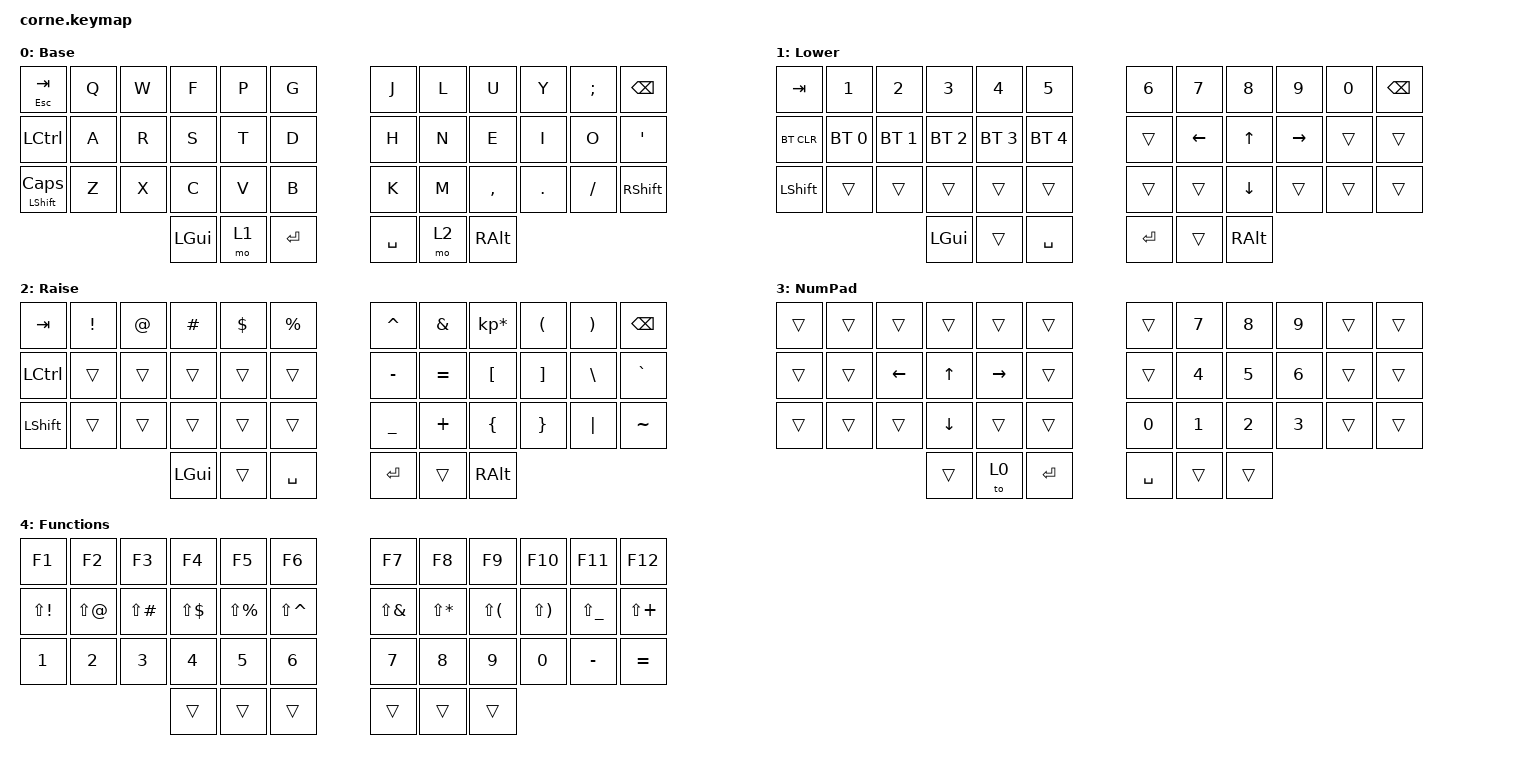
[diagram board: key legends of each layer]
/*
 * Copyright (c) 2020 The ZMK Contributors
 *
 * SPDX-License-Identifier: MIT
 */

#include <behaviors.dtsi>
#include <dt-bindings/zmk/bt.h>
#include <dt-bindings/zmk/keys.h>

/ {
    combos {
        compatible = "zmk,combos";

        NumPad {
            bindings = <&tog 3>;
            key-positions = <37 40>;
        };
    };

    keymap {
        compatible = "zmk,keymap";

        default_layer {
            // -----------------------------------------------------------------------------------------
            // |  TAB |  Q  |  W  |  E  |  R  |  T  |   |  Y  |  U   |  I  |  O  |  P  | BKSP |
            // | CTRL |  A  |  S  |  D  |  F  |  G  |   |  H  |  J   |  K  |  L  |  ;  |  '   |
            // | SHFT |  Z  |  X  |  C  |  V  |  B  |   |  N  |  M   |  ,  |  .  |  /  | ESC  |
            //                    | GUI | LWR | SPC |   | ENT | RSE  | ALT |

            display-name = "Base";
            bindings = <
&mt ESCAPE TAB      &kp Q  &kp W  &kp F     &kp P  &kp G        &kp J      &kp L  &kp U      &kp Y    &kp SEMI  &kp BSPC
&kp LCTRL           &kp A  &kp R  &kp S     &kp T  &kp D        &kp H      &kp N  &kp E      &kp I    &kp O     &kp SQT
&mt LSHFT CAPSLOCK  &kp Z  &kp X  &kp C     &kp V  &kp B        &kp K      &kp M  &kp COMMA  &kp DOT  &kp FSLH  &kp RIGHT_SHIFT
                                  &kp LGUI  &mo 1  &kp ENTER    &kp SPACE  &mo 2  &kp RALT
            >;
        };

        lower_layer {
            // -----------------------------------------------------------------------------------------
            // |  TAB |  1  |  2  |  3  |  4  |  5  |   |  6  |  7  |  8  |  9  |  0  | BKSP |
            // | BTCLR| BT1 | BT2 | BT3 | BT4 | BT5 |   | LFT | DWN |  UP | RGT |     |      |
            // | SHFT |     |     |     |     |     |   |     |     |     |     |     |      |
            //                    | GUI |     | SPC |   | ENT |     | ALT |

            display-name = "Lower";
            bindings = <
&kp TAB     &kp N1        &kp N2        &kp N3        &kp N4        &kp N5          &kp N6   &kp N7          &kp N8          &kp N9     &kp N0  &kp BSPC
&bt BT_CLR  &bt BT_SEL 0  &bt BT_SEL 1  &bt BT_SEL 2  &bt BT_SEL 3  &bt BT_SEL 4    &trans   &kp LEFT_ARROW  &kp UP          &kp RIGHT  &trans  &trans
&kp LSHFT   &trans        &trans        &trans        &trans        &trans          &trans   &trans          &kp DOWN_ARROW  &trans     &trans  &trans
                                        &kp LGUI      &trans        &kp SPACE       &kp RET  &trans          &kp RALT
            >;
        };

        raise_layer {
            // -----------------------------------------------------------------------------------------
            // |  TAB |  !  |  @  |  #  |  $  |  %  |   |  ^  |  &  |  *  |  (  |  )  | BKSP |
            // | CTRL |     |     |     |     |     |   |  -  |  =  |  [  |  ]  |  \  |  `   |
            // | SHFT |     |     |     |     |     |   |  _  |  +  |  {  |  }  | "|" |  ~   |
            //                    | GUI |     | SPC |   | ENT |     | ALT |

            display-name = "Raise";
            bindings = <
&kp TAB    &kp EXCL  &kp AT  &kp HASH  &kp DLLR  &kp PRCNT    &kp CARET  &kp AMPS   &kp KP_MULTIPLY  &kp LPAR  &kp RPAR  &kp BSPC
&kp LCTRL  &trans    &trans  &trans    &trans    &trans       &kp MINUS  &kp EQUAL  &kp LBKT         &kp RBKT  &kp BSLH  &kp GRAVE
&kp LSHFT  &trans    &trans  &trans    &trans    &trans       &kp UNDER  &kp PLUS   &kp LBRC         &kp RBRC  &kp PIPE  &kp TILDE
                             &kp LGUI  &trans    &kp SPACE    &kp RET    &trans     &kp RALT
            >;
        };

        NumPad {
            bindings = <
&trans  &trans  &trans    &trans    &trans     &trans       &trans     &kp N7  &kp N8  &kp N9  &trans  &trans
&trans  &trans  &kp LEFT  &kp UP    &kp RIGHT  &trans       &trans     &kp N4  &kp N5  &kp N6  &trans  &trans
&trans  &trans  &trans    &kp DOWN  &trans     &trans       &kp N0     &kp N1  &kp N2  &kp N3  &trans  &trans
                          &trans    &to 0      &kp ENTER    &kp SPACE  &trans  &trans
            >;

            label = "NumPad";
        };

        Functions {
            bindings = <
&kp F1        &kp F2      &kp F3         &kp F4        &kp F5         &kp F6           &kp F7        &kp F8        &kp F9        &kp F10       &kp F11        &kp F12
&kp LS(EXCL)  &kp LS(AT)  &kp LS(POUND)  &kp LS(DLLR)  &kp LS(PRCNT)  &kp LS(CARET)    &kp LS(AMPS)  &kp LS(STAR)  &kp LS(LPAR)  &kp LS(RPAR)  &kp LS(UNDER)  &kp LS(PLUS)
&kp N1        &kp N2      &kp N3         &kp N4        &kp N5         &kp N6           &kp N7        &kp N8        &kp N9        &kp N0        &kp MINUS      &kp EQUAL
                                         &trans        &trans         &trans           &trans        &trans        &trans
            >;
        };
    };
};
